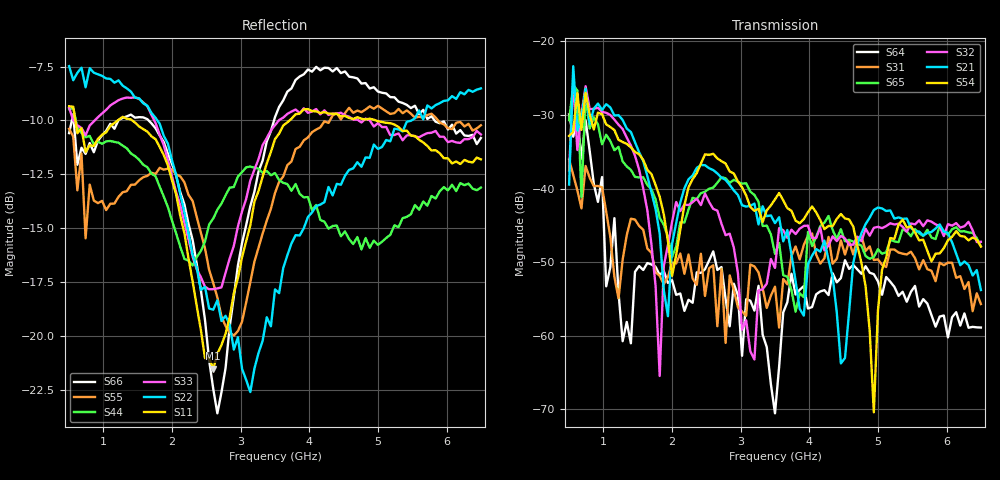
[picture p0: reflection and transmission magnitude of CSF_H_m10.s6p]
!Keysight Technologies,M9804A,MY58100912,A.14.10.03
!Date: Thursday, April 27, 2023 10:28:33
!Correction: S11(C  6-Port  )
!S12(C  6-Port  )
!S13(C  6-Port  )
!S14(C  6-Port  )
!S15(C  6-Port  )
!S16(C  6-Port  )
!S21(C  6-Port  )
!S22(C  6-Port  )
!S23(C  6-Port  )
!S24(C  6-Port  )
!S25(C  6-Port  )
!S26(C  6-Port  )
!S31(C  6-Port  )
!S32(C  6-Port  )
!S33(C  6-Port  )
!S34(C  6-Port  )
!S35(C  6-Port  )
!S36(C  6-Port  )
!S41(C  6-Port  )
!S42(C  6-Port  )
!S43(C  6-Port  )
!S44(C  6-Port  )
!S45(C  6-Port  )
!S46(C  6-Port  )
!S51(C  6-Port  )
!S52(C  6-Port  )
!S53(C  6-Port  )
!S54(C  6-Port  )
!S55(C  6-Port  )
!S56(C  6-Port  )
!S61(C  6-Port  )
!S62(C  6-Port  )
!S63(C  6-Port  )
!S64(C  6-Port  )
!S65(C  6-Port  )
!S66(C  6-Port  )
!S6P File: Measurement: :
# Hz S  RI  R 50
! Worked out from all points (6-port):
!   101 points, 500 MHz to 6.5 GHz, reference 50 ohm
!   strongest paths, dB at 500 MHz, 2 GHz, 3.5 GHz, 5 GHz, 6.5 GHz:
!     S54: -32.8, -51.9, -41.5, -56.6, -47.9
!     S21: -39.5, -47.5, -44.7, -42.6, -53.8
!     S32: -37.6, -44.5, -50.8, -45.2, -47.3
!     S65: -30.7, -49.3, -48.9, -48.3, -47.9
!     S31: -36.1, -50.1, -53.4, -49.6, -55.7
!     S64: -29.9, -52.5, -70.6, -52.6, -58.9
!   lowest |S11| = -21.5 dB at 2.6 GHz (marker M1), VSWR 1.18, Z = 42.5 + j2.07 ohm
!   |S11| at or under -10 dB: 591 MHz to 1.209 GHz (618.4 MHz wide, 68.7 % of centre); 1.42 GHz to 3.712 GHz (2.292 GHz wide, 89.3 % of centre); 4.97 GHz to end of sweep
